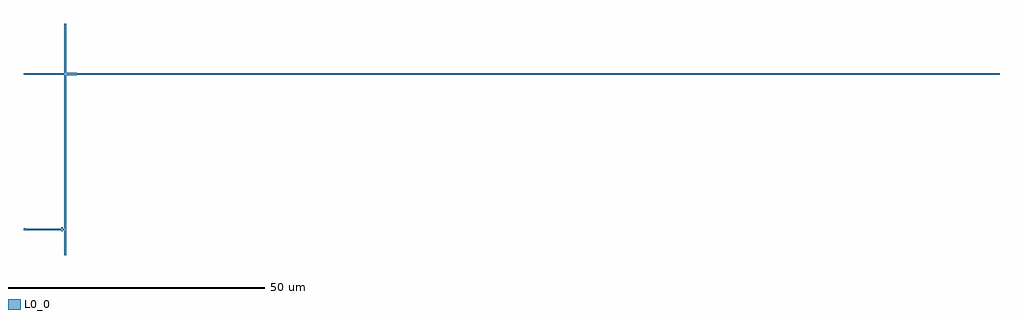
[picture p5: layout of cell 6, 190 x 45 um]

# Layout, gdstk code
import gdstk
lib = gdstk.Library(unit=1e-6, precision=1e-09)
def P(c, l, *ps):  # polygons
    for p in ps: c.add(gdstk.Polygon(p, *l))
L0_0 = (0, 0)

c_6 = lib.new_cell('6')
P(c_6, L0_0, [(1207.91,765.46),(1210.33,765.46),(1210.33,765.02),(1207.91,765.02),(1207.91,765.46)],
  [(1209.84,765.51),(1210.38,765.51),(1210.38,764.97),(1209.84,764.97),(1209.84,765.51)],
  [(1207.91,730),(1207.91,765.46),(1208.35,765.46),(1208.35,730),(1207.91,730)],
  [(1208.35,775),(1208.35,765.02),(1207.91,765.02),(1207.91,775),(1208.35,775)],
  [(1207.91,765.46),(1210.33,765.46),(1210.33,765.02),(1207.91,765.02),(1207.91,765.46)],
  [(1208.35,775),(1208.35,765.02),(1207.91,765.02),(1207.91,775),(1208.35,775)],
  [(1207.91,765.46),(1210.33,765.46),(1210.33,765.02),(1207.91,765.02),(1207.91,765.46)],
  [(1209.84,765.51),(1210.38,765.51),(1210.38,764.97),(1209.84,764.97),(1209.84,765.51)],
  [(1207.94,735.14),(1208.32,735.14),(1208.32,734.86),(1207.94,734.86),(1207.94,735.14)],
  [(1208.27,775),(1208.27,734.86),(1207.99,734.86),(1207.99,775),(1208.27,775)],
  [(1207.33,735.14),(1208.27,735.14),(1208.27,734.86),(1207.33,734.86),(1207.33,735.14)],
  [(1207.28,735.14),(1207.66,735.14),(1207.66,734.86),(1207.28,734.86),(1207.28,735.14)],
  [(1207.94,735.14),(1208.32,735.14),(1208.32,734.86),(1207.94,734.86),(1207.94,735.14)],
  [(1206.62,765.38),(1207,765.38),(1207,765.1),(1206.62,765.1),(1206.62,765.38)],
  [(1390,765.1),(1206.67,765.1),(1206.67,765.38),(1390,765.38),(1390,765.1)],
  [(1207.94,765.38),(1208.32,765.38),(1208.32,765.1),(1207.94,765.1),(1207.94,765.38)],
  [(1208.27,775),(1208.27,765.1),(1207.99,765.1),(1207.99,775),(1208.27,775)],
  [(1207.28,735.14),(1207.66,735.14),(1207.66,734.86),(1207.28,734.86),(1207.28,735.14)],
  [(1207.33,735.37),(1207.61,735.37),(1207.61,734.63),(1207.33,734.63),(1207.33,735.37)],
  [(1390,765.1),(1209.97,765.1),(1209.97,765.38),(1390,765.38),(1390,765.1)],
  [(1209.87,765.43),(1210.35,765.43),(1210.35,765.05),(1209.87,765.05),(1209.87,765.43)],
  [(1200,765.38),(1208.27,765.38),(1208.27,765.1),(1200,765.1),(1200,765.38)],
  [(1207.94,765.38),(1208.32,765.38),(1208.32,765.1),(1207.94,765.1),(1207.94,765.38)],
  [(1200,735.19),(1200.45,735.19),(1200.45,734.81),(1200,734.81),(1200,735.19)],
  [(1207.28,735.14),(1207.66,735.14),(1207.66,734.86),(1207.28,734.86),(1207.28,735.14)],
  [(1200.07,735.14),(1207.61,735.14),(1207.61,734.86),(1200.07,734.86),(1200.07,735.14)])

lib.write_gds('6.gds')
